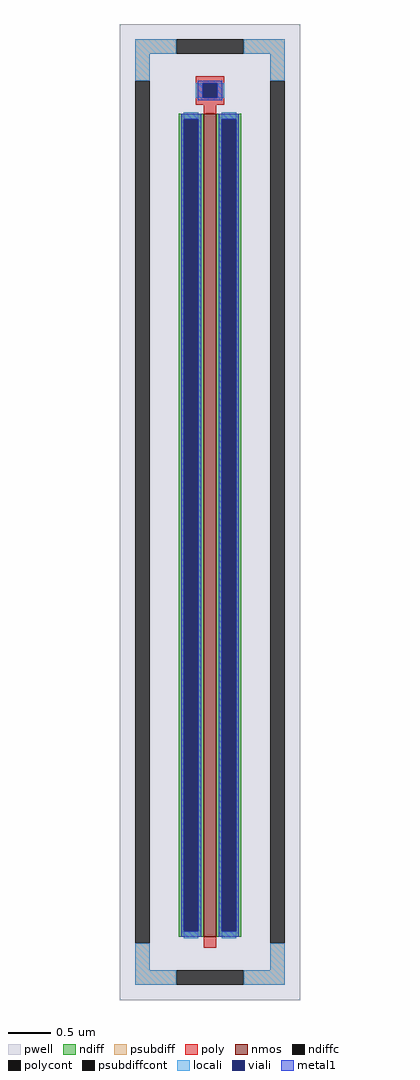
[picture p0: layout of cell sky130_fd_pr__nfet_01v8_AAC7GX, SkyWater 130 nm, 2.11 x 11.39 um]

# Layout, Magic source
magic
tech sky130A
magscale 1 2
<< pwell >>
rect -211 -1139 211 1139
<< nmos >>
rect -15 -991 15 929
<< ndiff >>
rect -73 917 -15 929
rect -73 -979 -61 917
rect -27 -979 -15 917
rect -73 -991 -15 -979
rect 15 917 73 929
rect 15 -979 27 917
rect 61 -979 73 917
rect 15 -991 73 -979
<< ndiffc >>
rect -61 -979 -27 917
rect 27 -979 61 917
<< psubdiff >>
rect -175 1069 -79 1103
rect 79 1069 175 1103
rect -175 1007 -141 1069
rect 141 1007 175 1069
rect -175 -1069 -141 -1007
rect 141 -1069 175 -1007
rect -175 -1103 -79 -1069
rect 79 -1103 175 -1069
<< psubdiffcont >>
rect -79 1069 79 1103
rect -175 -1007 -141 1007
rect 141 -1007 175 1007
rect -79 -1103 79 -1069
<< poly >>
rect -33 1001 33 1017
rect -33 967 -17 1001
rect 17 967 33 1001
rect -33 951 33 967
rect -15 929 15 951
rect -15 -1017 15 -991
<< polycont >>
rect -17 967 17 1001
<< locali >>
rect -175 1069 -79 1103
rect 79 1069 175 1103
rect -175 1007 -141 1069
rect 141 1007 175 1069
rect -33 967 -17 1001
rect 17 967 33 1001
rect -61 917 -27 933
rect -61 -995 -27 -979
rect 27 917 61 933
rect 27 -995 61 -979
rect -175 -1069 -141 -1007
rect 141 -1069 175 -1007
rect -175 -1103 -79 -1069
rect 79 -1103 175 -1069
<< viali >>
rect -17 967 17 1001
rect -61 -979 -27 917
rect 27 -979 61 917
<< metal1 >>
rect -29 1001 29 1007
rect -29 967 -17 1001
rect 17 967 29 1001
rect -29 961 29 967
rect -67 917 -21 929
rect -67 -979 -61 917
rect -27 -979 -21 917
rect -67 -991 -21 -979
rect 21 917 67 929
rect 21 -979 27 917
rect 61 -979 67 917
rect 21 -991 67 -979
<< properties >>
string gencell sky130_fd_pr__nfet_01v8
string FIXED_BBOX -158 -1086 158 1086
string parameters w 9.6 l 0.150 m 1 nf 1 diffcov 100 polycov 100 guard 1 glc 1 grc 1 gtc 1 gbc 1 tbcov 100 rlcov 100 topc 1 botc 0 poverlap 0 doverlap 0 lmin 0.15 wmin 0.42 compatible {sky130_fd_pr__nfet_01v8 sky130_fd_pr__nfet_01v8_lvt  sky130_fd_bs_flash__special_sonosfet_star  sky130_fd_pr__nfet_g5v0d10v5 sky130_fd_pr__nfet_05v0_nvt} full_metal 1 viasrc 100 viadrn 100 viagate 100 viagb 0 viagr 0 viagl 0 viagt 0
string library sky130
<< end >>
